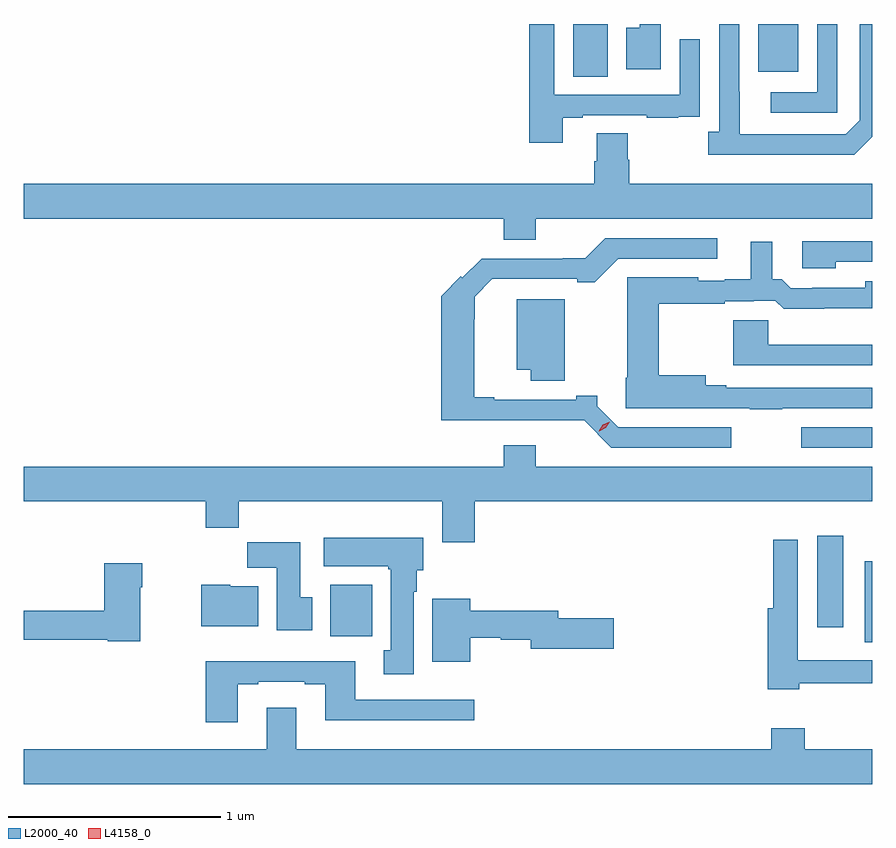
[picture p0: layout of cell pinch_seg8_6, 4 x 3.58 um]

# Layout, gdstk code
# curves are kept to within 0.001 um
import gdstk
lib = gdstk.Library(unit=1e-6, precision=1e-09)
def R(c, l, rs):  # rectangles x0, y0, x1, y1
    for r in rs: c.add(gdstk.rectangle(r[:2], r[2:], *l))
def P(c, l, *ps):  # polygons
    for p in ps: c.add(gdstk.Polygon(p, *l))
L2000_40 = (2000, 40)
L4158_0 = (4158, 0)

pinch_seg8_6 = lib.new_cell('pinch_seg8_6')
R(pinch_seg8_6, L2000_40, [(1012.292,1122.496,1012.329,1122.877), (1009.775,1122.524,1009.972,1122.766), (1012.07,1122.567,1012.192,1122.997), (1011.993,1123.413,1012.329,1123.509), (1010.918,1125.16,1011.082,1125.409), (1011.791,1125.185,1011.979,1125.409)])
P(pinch_seg8_6, L2000_40, [(1012.329,1124.877),(1012.329,1125.409),(1012.269,1125.409),(1012.269,1124.955),(1012.203,1124.889),(1011.703,1124.889),(1011.702,1125.409),(1011.606,1125.409),(1011.606,1124.902),(1011.555,1124.902),(1011.555,1124.792),(1012.244,1124.792)],
  [(1010.869,1124.967),(1010.965,1124.967),(1010.965,1124.979),(1011.265,1124.979),(1011.265,1124.967),(1011.413,1124.967),(1011.413,1124.973),(1011.515,1124.973),(1011.515,1125.082),(1011.516,1125.082),(1011.516,1125.337),(1011.42,1125.337),(1011.42,1125.075),(1010.829,1125.075),(1010.829,1125.409),(1010.713,1125.409),(1010.713,1124.85),(1010.869,1124.85)],
  [(1011.331,1125.409),(1011.233,1125.409),(1011.233,1125.391),(1011.17,1125.391),(1011.17,1125.195),(1011.331,1125.195)],
  [(1012.164,1125.409),(1012.071,1125.409),(1012.071,1125.407),(1012.068,1125.407),(1012.068,1125.087),(1011.849,1125.087),(1011.849,1124.991),(1012.164,1124.991)],
  [(1010.743,1124.492),(1012.329,1124.492),(1012.329,1124.656),(1011.182,1124.656),(1011.182,1124.769),(1011.177,1124.769),(1011.177,1124.894),(1011.029,1124.894),(1011.029,1124.762),(1011.017,1124.762),(1011.017,1124.656),(1008.329,1124.656),(1008.329,1124.492),(1010.591,1124.492),(1010.591,1124.393),(1010.743,1124.393)],
  [(1011.664,1123.509),(1011.132,1123.509),(1011.033,1123.608),(1011.033,1123.658),(1010.933,1123.658),(1010.933,1123.638),(1010.548,1123.638),(1010.548,1123.651),(1010.452,1123.651),(1010.452,1124.018),(1010.455,1124.018),(1010.455,1124.125),(1010.538,1124.208),(1010.939,1124.208),(1010.939,1124.192),(1011.02,1124.192),(1011.132,1124.304),(1011.598,1124.304),(1011.598,1124.4),(1011.069,1124.4),(1010.975,1124.306),(1010.87,1124.306),(1010.87,1124.304),(1010.487,1124.304),(1010.397,1124.214),(1010.39,1124.221),(1010.297,1124.127),(1010.297,1123.542),(1010.972,1123.541),(1011.099,1123.413),(1011.664,1123.413)],
  [(1012.155,1124.289),(1012.329,1124.289),(1012.329,1124.385),(1011.999,1124.385),(1011.999,1124.258),(1012.155,1124.258)],
  [(1011.905,1123.599),(1012.329,1123.599),(1012.329,1123.695),(1011.64,1123.695),(1011.64,1123.708),(1011.544,1123.708),(1011.544,1123.755),(1011.321,1123.755),(1011.321,1124.091),(1011.633,1124.091),(1011.633,1124.103),(1011.77,1124.103),(1011.77,1124.106),(1011.87,1124.106),(1011.91,1124.067),(1012.103,1124.067),(1012.103,1124.069),(1012.329,1124.069),(1012.329,1124.197),(1012.294,1124.197),(1012.294,1124.166),(1012.045,1124.166),(1012.045,1124.163),(1011.945,1124.163),(1011.902,1124.207),(1011.856,1124.207),(1011.856,1124.383),(1011.755,1124.383),(1011.755,1124.207),(1011.633,1124.207),(1011.633,1124.199),(1011.507,1124.199),(1011.507,1124.215),(1011.173,1124.215),(1011.173,1123.743),(1011.166,1123.743),(1011.166,1123.598),(1011.751,1123.599),(1011.751,1123.594),(1011.905,1123.594)],
  [(1010.878,1124.113),(1010.654,1124.113),(1010.654,1123.781),(1010.72,1123.781),(1010.72,1123.728),(1010.878,1123.728)],
  [(1012.329,1123.897),(1011.839,1123.897),(1011.839,1124.014),(1011.673,1124.014),(1011.673,1123.8),(1012.329,1123.8)],
  [(1010.456,1123.16),(1012.329,1123.16),(1012.329,1123.324),(1010.743,1123.324),(1010.743,1123.423),(1010.591,1123.423),(1010.591,1123.324),(1008.329,1123.324),(1008.329,1123.16),(1009.187,1123.16),(1009.187,1123.036),(1009.343,1123.036),(1009.343,1123.16),(1010.303,1123.16),(1010.303,1122.966),(1010.456,1122.966)],
  [(1010.167,1122.734),(1010.182,1122.734),(1010.182,1122.834),(1010.212,1122.834),(1010.212,1122.988),(1009.743,1122.988),(1009.743,1122.854),(1010.047,1122.854),(1010.047,1122.841),(1010.06,1122.841),(1010.06,1122.458),(1010.027,1122.458),(1010.027,1122.345),(1010.167,1122.345)],
  [(1011.983,1122.303),(1012.329,1122.303),(1012.329,1122.411),(1012.188,1122.411),(1012.188,1122.412),(1011.978,1122.412),(1011.978,1122.979),(1011.862,1122.979),(1011.862,1122.655),(1011.836,1122.655),(1011.836,1122.275),(1011.983,1122.275)],
  [(1009.69,1122.708),(1009.633,1122.708),(1009.633,1122.967),(1009.384,1122.967),(1009.384,1122.848),(1009.523,1122.848),(1009.523,1122.552),(1009.69,1122.552)],
  [(1008.88,1122.755),(1008.888,1122.755),(1008.888,1122.868),(1008.71,1122.868),(1008.71,1122.644),(1008.329,1122.644),(1008.329,1122.508),(1008.726,1122.508),(1008.726,1122.5),(1008.88,1122.5)],
  [(1009.435,1122.76),(1009.302,1122.76),(1009.302,1122.766),(1009.166,1122.766),(1009.166,1122.572),(1009.435,1122.572)],
  [(1010.434,1122.516),(1010.577,1122.516),(1010.577,1122.508),(1010.72,1122.508),(1010.72,1122.466),(1011.109,1122.466),(1011.109,1122.608),(1010.848,1122.608),(1010.848,1122.644),(1010.434,1122.644),(1010.434,1122.7),(1010.255,1122.7),(1010.255,1122.404),(1010.434,1122.404)],
  [(1009.339,1122.297),(1009.435,1122.297),(1009.435,1122.309),(1009.655,1122.309),(1009.655,1122.297),(1009.751,1122.297),(1009.751,1122.128),(1010.452,1122.128),(1010.452,1122.225),(1009.891,1122.225),(1009.891,1122.406),(1009.187,1122.406),(1009.187,1122.12),(1009.339,1122.12)],
  [(1012.329,1121.992),(1012.011,1121.992),(1012.011,1122.091),(1011.851,1122.091),(1011.851,1121.992),(1009.615,1121.992),(1009.615,1122.187),(1009.475,1122.187),(1009.475,1121.992),(1008.329,1121.992),(1008.329,1121.828),(1012.329,1121.828)])
P(pinch_seg8_6, L4158_0, [(1011.04,1123.49),(1011.04,1123.49),(1011.059,1123.52),(1011.09,1123.536),(1011.09,1123.536),(1011.09,1123.536),(1011.072,1123.506),(1011.041,1123.49)])

lib.write_gds('pinch_seg8_6.gds')
